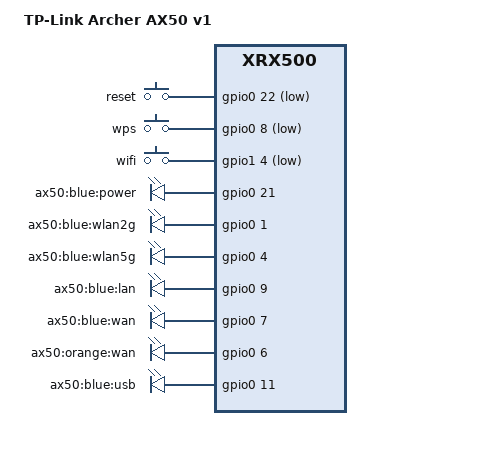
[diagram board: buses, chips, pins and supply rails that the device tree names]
/*
 * TP-Link Archer AX50 v1
 *
 * SoC:   Intel/MaxLinear AnyWAN GRX350 (lantiq,xrx500), MIPS interAptiv
 * Wi-Fi: 2 x MaxLinear WAV654 (WAV600 gen6) on PCIe
 * NAND:  256 MiB
 *
 * Базой взята референс-плата AxePoint GRX350 1600 Ethernet Router, потому что
 * стоковая прошивка AX50 объявляет себя именно как "EASY350 ANYWAN (GRX350)
 * Router model" с compatible "lantiq,grx500","lantiq,xrx500".
 *
 * Значения GPIO/светодиодов и разметка NAND взяты из DTB, извлечённого из
 * официальной прошивки 1.1.2 Build 20251022 — см. reference/ax50-stock.dts
 */

#include "easy350_anywan_axepoint_rt.dts"

#include <dt-bindings/gpio/gpio.h>
#include <dt-bindings/input/input.h>

/ {
	model = "TP-Link Archer AX50 v1";
	compatible = "tplink,archer-ax50-v1", "intel,easy350_anywan",
		     "lantiq,grx500", "lantiq,xrx500";

	/*
	 * base-files таргета (etc/board.d/01_leds) ищет светодиоды через
	 * алиасы led-<роль> и функцию lantiq_get_dt_led, поэтому без этих
	 * алиасов автонастройка триггеров не сработает.
	 */
	aliases {
		led-wifi = &led_wlan2g;
		led-usb = &led_usb;
		led-internet = &led_wan_blue;
	};

	gpio-keys-polled {
		compatible = "gpio-keys-polled";
		#address-cells = <1>;
		#size-cells = <0>;
		poll-interval = <100>;

		reset {
			label = "reset";
			gpios = <&gpio0 22 GPIO_ACTIVE_LOW>;
			linux,code = <KEY_RESTART>;
		};

		wps {
			label = "wps";
			gpios = <&gpio0 8 GPIO_ACTIVE_LOW>;
			linux,code = <KEY_WPS_BUTTON>;
		};

		wifi {
			label = "wifi";
			gpios = <&gpio1 4 GPIO_ACTIVE_LOW>;
			linux,code = <KEY_RFKILL>;
		};
	};

	gpio-leds {
		compatible = "gpio-leds";

		led_power: power {
			label = "ax50:blue:power";
			gpios = <&gpio0 21 GPIO_ACTIVE_HIGH>;
			default-state = "on";
		};

		led_wlan2g: wlan2g {
			label = "ax50:blue:wlan2g";
			gpios = <&gpio0 1 GPIO_ACTIVE_HIGH>;
		};

		led_wlan5g: wlan5g {
			label = "ax50:blue:wlan5g";
			gpios = <&gpio0 4 GPIO_ACTIVE_HIGH>;
		};

		led_lan: lan {
			label = "ax50:blue:lan";
			gpios = <&gpio0 9 GPIO_ACTIVE_HIGH>;
		};

		led_wan_blue: wan_blue {
			label = "ax50:blue:wan";
			gpios = <&gpio0 7 GPIO_ACTIVE_HIGH>;
		};

		led_wan_orange: wan_orange {
			label = "ax50:orange:wan";
			gpios = <&gpio0 6 GPIO_ACTIVE_HIGH>;
		};

		led_usb: usb {
			label = "ax50:blue:usb";
			gpios = <&gpio0 11 GPIO_ACTIVE_HIGH>;
		};
	};
};

/*
 * Разметка NAND 256 МиБ (у референс-платы — 128 МиБ и отдельный раздел Bootcore,
 * которого у AX50 нет). Удаляем разделы базовой платы и объявляем свои.
 */
&{/ssx4@16000000/localbus@0/nand-parts@0} {
	/delete-node/ partition@2c0000;
	/delete-node/ partition@12c0000;
	/delete-node/ partition@7Ec0000;

	partition@2c0000 {
		label = "system_sw";
		reg = <0x02c0000 0xfa00000>;	/* 250 MiB, UBI: kernel + rootfs (банки A/B) */
	};

	partition@fcc0000 {
		label = "res";
		reg = <0xfcc0000 0x0340000>;	/* 3.25 MiB */
	};
};
